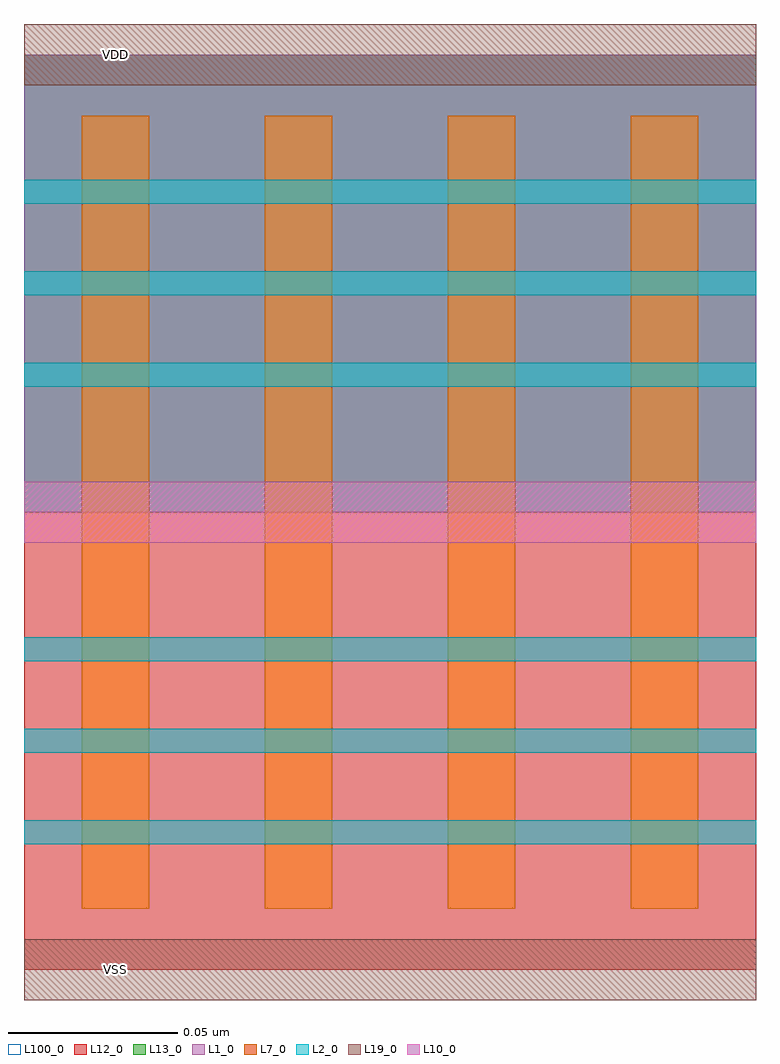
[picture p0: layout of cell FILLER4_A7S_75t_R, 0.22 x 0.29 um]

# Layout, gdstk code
import gdstk
lib = gdstk.Library(unit=1e-6, precision=2.5e-10)
def R(c, l, rs):  # rectangles x0, y0, x1, y1
    for r in rs: c.add(gdstk.rectangle(r[:2], r[2:], *l))
def A(c, l, x, y, w, h, nx, ny, dx, dy):  # array of equal rectangles
    R(c, l, [(x+i*dx, y+j*dy, x+i*dx+w, y+j*dy+h) for i in range(nx) for j in range(ny)])
L1_0 = (1, 0)
L2_0 = (2, 0)
L7_0 = (7, 0)
L10_0 = (10, 0)
L12_0 = (12, 0)
L13_0 = (13, 0)
L19_0 = (19, 0)
L100_0 = (100, 0)

filler4_a7s_75t_r = lib.new_cell('FILLER4_A7S_75t_R')
R(filler4_a7s_75t_r, L1_0, [(0,0.135,0.216,0.27)])
A(filler4_a7s_75t_r, L2_0, 0, 0.037, 0.216, 0.007, 1, 3, 0, 0.027)
A(filler4_a7s_75t_r, L2_0, 0, 0.172, 0.216, 0.007, 1, 3, 0, 0.027)
A(filler4_a7s_75t_r, L7_0, 0.017, 0.018, 0.02, 0.234, 4, 1, 0.054, 0)
A(filler4_a7s_75t_r, L10_0, 0, 0.126, 0.054, 0.018, 4, 1, 0.054, 0)
R(filler4_a7s_75t_r, L12_0, [(0,0,0.216,0.135)])
R(filler4_a7s_75t_r, L13_0, [(0,0.135,0.216,0.27)])
R(filler4_a7s_75t_r, L19_0, [(0,-0.009,0.216,0.009), (0,0.261,0.216,0.279)])
R(filler4_a7s_75t_r, L100_0, [(0,0,0.216,0.27)])
filler4_a7s_75t_r.add(gdstk.Label('VSS', (0.027,0), layer=19, texttype=251))
filler4_a7s_75t_r.add(gdstk.Label('VDD', (0.027,0.27), layer=19, texttype=251))

lib.write_gds('FILLER4_A7S_75t_R.gds')
